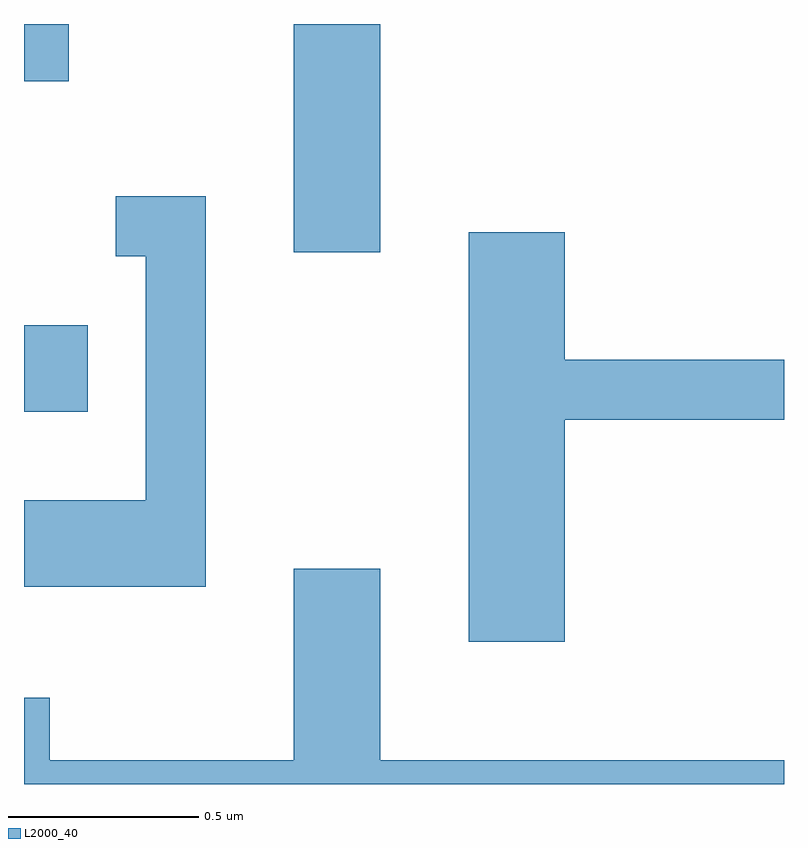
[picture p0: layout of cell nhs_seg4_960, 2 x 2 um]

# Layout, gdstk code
import gdstk
lib = gdstk.Library(unit=1e-6, precision=1e-09)
def R(c, l, rs):  # rectangles x0, y0, x1, y1
    for r in rs: c.add(gdstk.rectangle(r[:2], r[2:], *l))
def P(c, l, *ps):  # polygons
    for p in ps: c.add(gdstk.Polygon(p, *l))
L2000_40 = (2000, 40)

nhs_seg4_960 = lib.new_cell('nhs_seg4_960')
R(nhs_seg4_960, L2000_40, [(192.611,1255.961,192.779,1256.189), (193.321,1256.381,193.549,1256.982), (192.611,1256.831,192.729,1256.982)])
P(nhs_seg4_960, L2000_40, [(193.089,1256.529),(192.853,1256.529),(192.853,1256.371),(192.931,1256.371),(192.931,1255.729),(192.611,1255.729),(192.611,1255.501),(193.089,1255.501)],
  [(194.034,1255.941),(194.611,1255.941),(194.611,1256.099),(194.034,1256.099),(194.034,1256.434),(193.781,1256.434),(193.781,1255.356),(194.034,1255.356)],
  [(194.611,1255.044),(193.549,1255.044),(193.549,1255.549),(193.321,1255.549),(193.321,1255.044),(192.679,1255.044),(192.679,1255.209),(192.611,1255.209),(192.611,1254.982),(194.611,1254.982)])

lib.write_gds('nhs_seg4_960.gds')
